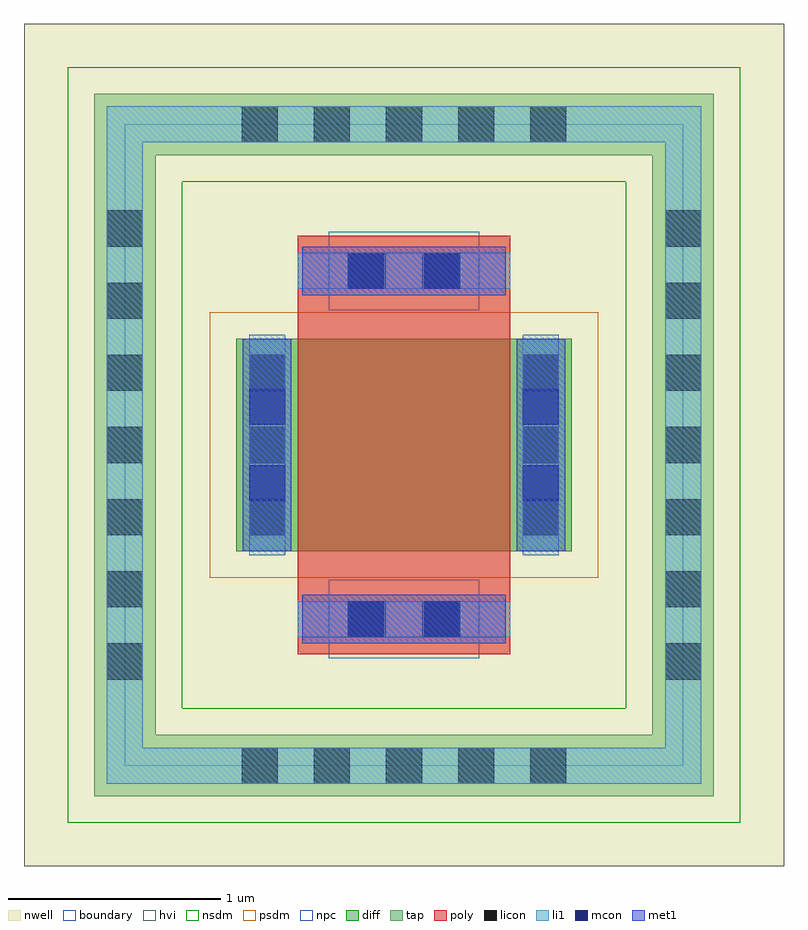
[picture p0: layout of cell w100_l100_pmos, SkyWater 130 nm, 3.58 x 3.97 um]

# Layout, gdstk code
import gdstk
lib = gdstk.Library(unit=1e-6, precision=1e-09)
def R(c, l, rs):  # rectangles x0, y0, x1, y1
    for r in rs: c.add(gdstk.rectangle(r[:2], r[2:], *l))
def A(c, l, x, y, w, h, nx, ny, dx, dy):  # array of equal rectangles
    R(c, l, [(x+i*dx, y+j*dy, x+i*dx+w, y+j*dy+h) for i in range(nx) for j in range(ny)])
nwell = (64, 20)
diff = (65, 20)
tap = (65, 44)
poly = (66, 20)
licon = (66, 44)
li1 = (67, 20)
mcon = (67, 44)
met1 = (68, 20)
hvi = (75, 20)
nsdm = (93, 44)
psdm = (94, 20)
npc = (95, 20)
boundary = (235, 4)

sky130_fd_pr__pfet_g5v0d = lib.new_cell('sky130_fd_pr__pfet_g5v0d10v5')

w100_l100_pmos = lib.new_cell('w100_l100_pmos')
R(w100_l100_pmos, nwell, [(-1.79,-1.985,1.79,1.985)])
R(w100_l100_pmos, diff, [(-0.79,-0.5,0.79,0.5)])
R(w100_l100_pmos, tap, [(-1.46,-1.655,1.46,-1.365), (-1.46,-1.365,-1.17,1.365), (1.17,-1.365,1.46,1.365), (-1.46,1.365,1.46,1.655)])
R(w100_l100_pmos, poly, [(-0.5,-0.985,0.5,0.985)])
A(w100_l100_pmos, licon, -0.765, -1.595, 0.17, 0.17, 5, 2, 0.34, 3.02)
A(w100_l100_pmos, licon, -1.4, -1.105, 0.17, 0.17, 1, 7, 0, 0.34)
A(w100_l100_pmos, licon, 1.23, -1.105, 0.17, 0.17, 1, 7, 0, 0.34)
A(w100_l100_pmos, licon, -0.73, -0.425, 0.17, 0.17, 1, 3, 0, 0.34)
A(w100_l100_pmos, licon, 0.56, -0.425, 0.17, 0.17, 1, 3, 0, 0.34)
R(w100_l100_pmos, licon, [(-0.255,-0.905,-0.085,-0.735), (0.085,-0.905,0.255,-0.735), (-0.255,0.735,-0.085,0.905), (0.085,0.735,0.255,0.905)])
R(w100_l100_pmos, li1, [(-1.4,-1.595,1.4,-1.425), (-1.4,-1.425,-1.23,1.425), (1.23,-1.425,1.4,1.425), (-0.5,-0.905,0.5,-0.735), (-0.73,-0.52,-0.56,0.52), (0.56,-0.52,0.73,0.52), (-0.5,0.735,0.5,0.905), (-1.4,1.425,1.4,1.595)])
R(w100_l100_pmos, mcon, [(-0.265,-0.905,-0.095,-0.735), (0.095,-0.905,0.265,-0.735), (-0.73,-0.265,-0.56,-0.095), (0.56,-0.265,0.73,-0.095), (-0.73,0.095,-0.56,0.265), (0.56,0.095,0.73,0.265), (-0.265,0.735,-0.095,0.905), (0.095,0.735,0.265,0.905)])
R(w100_l100_pmos, met1, [(-0.48,-0.935,0.48,-0.705), (-0.76,-0.5,-0.53,0.5), (0.53,-0.5,0.76,0.5), (-0.48,0.705,0.48,0.935)])
R(w100_l100_pmos, hvi, [(-1.79,-1.985,1.79,1.985)])
R(w100_l100_pmos, nsdm, [(-1.585,-1.78,1.585,-1.24), (-1.585,-1.24,-1.045,1.24), (1.045,-1.24,1.585,1.24), (-1.585,1.24,1.585,1.78)])
R(w100_l100_pmos, psdm, [(-0.915,-0.625,0.915,0.625)])
R(w100_l100_pmos, npc, [(-0.355,-1.005,0.355,-0.635), (-0.355,0.635,0.355,1.005)])
R(w100_l100_pmos, boundary, [(-1.315,-1.51,1.315,1.51)])
w100_l100_pmos.add(gdstk.Reference(sky130_fd_pr__pfet_g5v0d, (0,0)))

lib.write_gds('w100_l100_pmos.gds')
